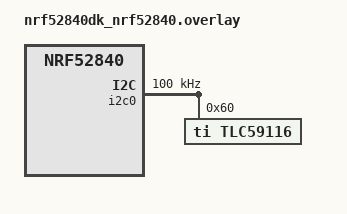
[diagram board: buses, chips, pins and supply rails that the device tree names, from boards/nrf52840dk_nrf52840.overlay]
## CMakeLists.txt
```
# SPDX-License-Identifier: Apache-2.0

cmake_minimum_required(VERSION 3.20.0)

find_package(Zephyr REQUIRED HINTS $ENV{ZEPHYR_BASE})
project(led_tlc59116)

FILE(GLOB app_sources src/*.c)
target_sources(app PRIVATE ${app_sources})
```

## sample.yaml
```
sample:
  description: Demonstration of the TLC59116 LED driver
  name: TLC59116 sample
tests:
  sample.drivers.led.tlc59116:
    platform_allow: nrf52840dk/nrf52840
    tags: led
    harness: console
    harness_config:
      fixture: fixture_led_tlc59116
      type: multi_line
      ordered: true
      regex:
        - "Found LED device"
        - "Testing 16 LEDs"
```

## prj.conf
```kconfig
CONFIG_LOG=y
CONFIG_LED=y
CONFIG_I2C=y
```

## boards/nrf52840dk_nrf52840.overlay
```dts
/* SPDX-License-Identifier: Apache-2.0 */

&i2c0 {
	status = "okay";
	clock-frequency = <I2C_BITRATE_STANDARD>;

	tlc59116@60 {
		status = "okay";
		compatible = "ti,tlc59116";
		reg = <0x60>;
	};
};
```

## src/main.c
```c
/*
 * Copyright (c) 2023 Phytec Messtechnik GmbH
 * Copyright (c) 2025 Tridonic Gmbh & Co KG
 *
 * SPDX-License-Identifier: Apache-2.0
 */

#include <zephyr/device.h>
#include <zephyr/drivers/led.h>
#include <zephyr/kernel.h>

#include <zephyr/logging/log.h>
LOG_MODULE_REGISTER(app, CONFIG_LED_LOG_LEVEL);

#define NUM_LEDS 16
#define DELAY_TIME_ON		K_MSEC(1000)
#define DELAY_TIME_BREATHING	K_MSEC(20)

int main(void)
{
	const struct device *const led_dev = DEVICE_DT_GET_ANY(ti_tlc59116);
	uint8_t ch_buf[16] = {0};
	int i, ret;

	if (!led_dev) {
		LOG_ERR("No device with compatible ti,tlc59116 found");
		return 0;
	} else if (!device_is_ready(led_dev)) {
		LOG_ERR("LED device %s not ready", led_dev->name);
		return 0;
	}

	LOG_INF("Found LED device %s", led_dev->name);

	/*
	 * Display a continuous pattern that turns on 16 LEDs at 1 s one by
	 * one until it reaches the end and fades off all LEDs.
	 * Afterwards, all LEDs get blinked once at the same time.
	 */

	LOG_INF("Testing 16 LEDs ..");

	while (1) {
		/* Turn on LEDs one by one */
		for (i = 0; i < NUM_LEDS; i++) {
			ret = led_on(led_dev, i);
			if (ret) {
				return ret;
			}

			k_sleep(DELAY_TIME_ON);
		}

		/* Turn all LEDs off slowly to demonstrate set_brightness */
		for (i = 0; i <= 100; i++) {
			for (int j = 0; j < NUM_LEDS; j++) {
				ret = led_set_brightness(led_dev, j, 100 - i);
				if (ret) {
					return ret;
				}
			}

			k_sleep(DELAY_TIME_BREATHING);
		}

		k_sleep(DELAY_TIME_ON);

		/* Turn on all LEDs at once to demonstrate write_channels */
		memset(ch_buf, 255, ARRAY_SIZE(ch_buf));
		ret = led_write_channels(led_dev, 0, ARRAY_SIZE(ch_buf), ch_buf);
		if (ret) {
			return ret;
		}

		k_sleep(DELAY_TIME_ON);

		/* Turn off all LEDs at once to demonstrate write_channels */
		memset(ch_buf, 0, ARRAY_SIZE(ch_buf));
		ret = led_write_channels(led_dev, 0, ARRAY_SIZE(ch_buf), ch_buf);
		if (ret) {
			return ret;
		}

		k_sleep(DELAY_TIME_ON);
	}
	return 0;
}
```
